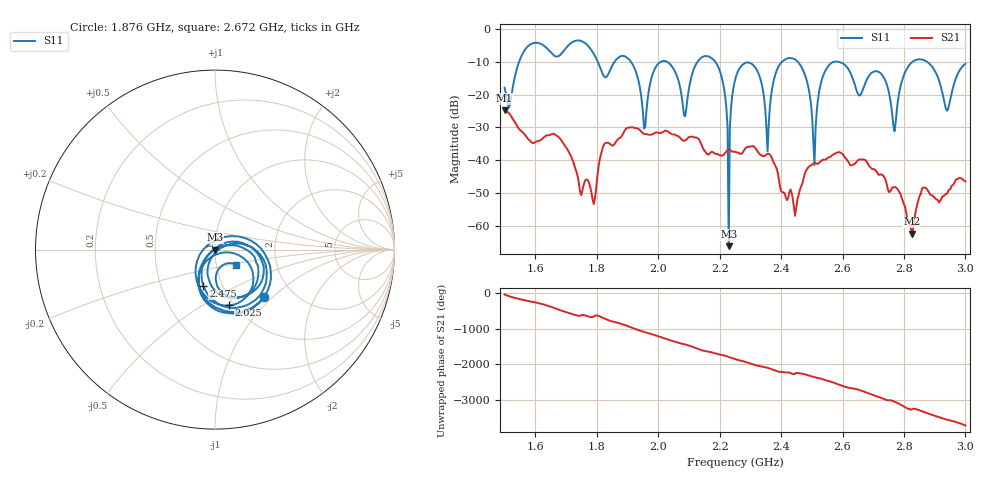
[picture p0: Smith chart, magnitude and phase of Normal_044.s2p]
# HZ S RI R 50
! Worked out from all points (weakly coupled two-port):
!   404 points, 1.5 GHz to 3 GHz, reference 50 ohm
!   highest |S21| = -24.84 dB at 1.5 GHz (marker M1); lowest = -62.3 dB at 2.825 GHz (marker M2)
!   lowest |S11| = -66.1 dB at 2.23 GHz (marker M3), VSWR 1.00, Z = 50 + j0.0421 ohm
!   |S11| at or under -10 dB: 2.185 GHz to 2.404 GHz (218.3 MHz wide, 9.51 % of centre); 2.582 GHz to 2.828 GHz (246.2 MHz wide, 9.1 % of centre); 2.874 GHz to end of sweep (the widest 3 of 8)
!   S12 and S22 are empty: the file has one direction only
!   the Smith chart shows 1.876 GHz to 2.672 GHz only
!   S11 on the Smith chart (normalised r, x): 1.876 GHz: 1.44, -0.88; 2.025 GHz: 0.95, -0.66; 2.475 GHz: 0.81, -0.35; 2.672 GHz: 1.24, -0.21
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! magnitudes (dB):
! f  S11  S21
! 1.5 GHz  -17.9  -24.8
! 1.753 GHz  -3.9  -49.2
! 1.876 GHz  -8.4  -33.2
! 1.954 GHz  -30.3  -32.0
! 2.002 GHz  -10.4  -31.7
! 2.025 GHz  -9.9  -31.0
! 2.088 GHz  -26.6  -33.9
! 2.185 GHz  -9.9  -37.9
! 2.23 GHz  -66.1  -36.6
! 2.252 GHz  -15.0  -37.5
! 2.315 GHz  -11.7  -36.1
! 2.356 GHz  -37.3  -38.0
! 2.397 GHz  -10.7  -48.2
! 2.475 GHz  -13.4  -44.8
! 2.501 GHz  -27.0  -41.2
! 2.565 GHz  -10.3  -38.6
! 2.672 GHz  -16.9  -39.8
! 2.751 GHz  -19.2  -49.6
! 2.769 GHz  -31.2  -48.1
! 2.825 GHz  -10.3  -62.3
! 2.94 GHz  -24.9  -50.2
! 3 GHz  -10.7  -46.4
